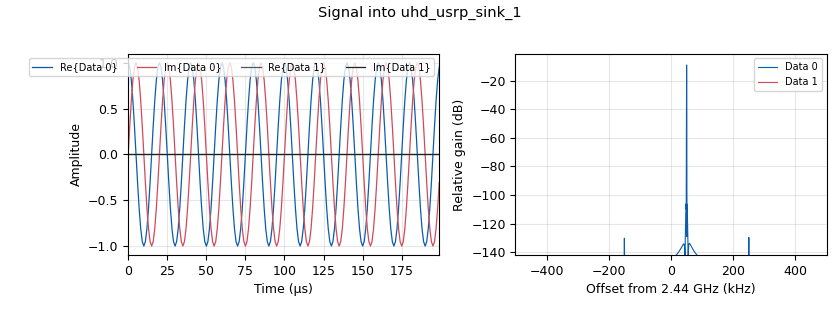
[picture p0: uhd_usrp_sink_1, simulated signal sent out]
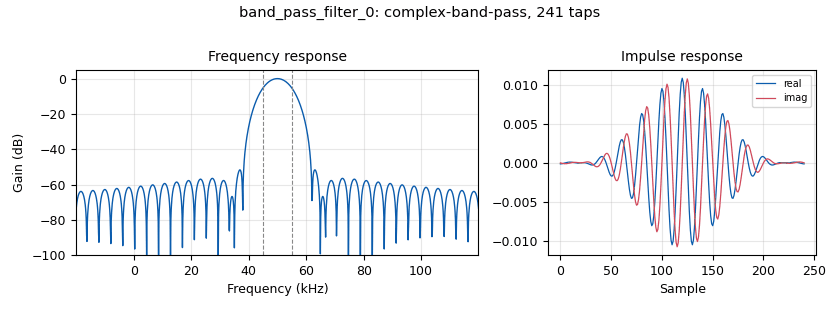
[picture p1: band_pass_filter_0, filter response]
options:
  parameters:
    comment: |-
      Wait for the phase shift coefficient to stabilise - 5min
      "num_recv_frames=1024" is absolutely critical for consistent data flow

          def set_trigger_measurment(self, trigger_measurment):
              self.trigger_measurment = trigger_measurment
              self._trigger_measurment_callback(self.trigger_measurment)

              if trigger_measurment == True:
                  self.aoa_head_w_rst_0.reset(True)
                  self.aoa_head_w_rst_0_0.reset(True)

                  self.blocks_selector_1.set_output_index(self.trigger_measurment)
                  self.blocks_selector_1_0.set_output_index(self.trigger_measurment)
    generate_options: qt_gui
    id: run_usrp_wireless_cal_coeff_meas
    output_language: python
    run_options: run
    title: Frequency sweep of calibration coeficients
  states: {}

blocks:
- name: cal_freq
  id: variable
  parameters:
    value: int(50e3)
  states: {}
- name: decimation
  id: variable
  parameters:
    value: int(1e3)
  states: {}
- name: n_saved_sampl
  id: variable
  parameters:
    value: int(samp_rate*meas_time_s/decimation)
  states: {}
- name: n_skip
  id: variable
  parameters:
    value: int(samp_rate)
  states: {}
- name: round_idx
  id: variable_qtgui_range
  parameters:
    gui_hint: ctrl@0:2,0,1,1
    label: Measurment round index
    orient: Qt.Horizontal
    start: '0'
    step: '1'
    stop: '150'
    value: '0'
  states: {}
- name: rx_gain_1
  id: variable_qtgui_range
  parameters:
    gui_hint: pwr@0:0,0,1,1
    label: rx_gain_1
    orient: Qt.Horizontal
    start: '0'
    step: '1'
    stop: '76'
    value: '30'
  states: {}
- name: rx_gain_2
  id: variable_qtgui_range
  parameters:
    gui_hint: pwr@0:1,0,1,1
    label: rx_gain_2
    orient: Qt.Horizontal
    start: '0'
    step: '1'
    stop: '76'
    value: '30'
  states: {}
- name: samp_rate
  id: variable
  parameters:
    value: int(1e+6)
  states: {}
- name: trigger_measurment
  id: variable_qtgui_check_box
  parameters:
    'false': 'False'
    gui_hint: ctrl@0:1,0,1,1
    label: Trigger measurment
    'true': 'True'
    type: bool
    value: 'False'
  states: {}
- name: tx_chan
  id: variable_qtgui_check_box
  parameters:
    'false': 'False'
    gui_hint: ctrl@0:0,0,1,1
    label: Select TX channel
    'true': 'True'
    type: int
    value: 'False'
  states: {}
- name: tx_gain_1
  id: variable_qtgui_range
  parameters:
    gui_hint: pwr@0:2,0,1,1
    label: tx_gain_1
    orient: Qt.Horizontal
    start: '0'
    step: '1'
    stop: '90'
    value: '40'
  states: {}
- name: tx_gain_2
  id: variable_qtgui_range
  parameters:
    gui_hint: pwr@0:3,0,1,1
    label: tx_gain_2
    orient: Qt.Horizontal
    start: '0'
    step: '1'
    stop: '90'
    value: '40'
  states: {}
- name: analog_sig_source_x_0_0
  id: analog_sig_source_x
  parameters:
    amp: '1'
    freq: cal_freq
    offset: '0'
    phase: '0'
    samp_rate: samp_rate
    type: complex
    waveform: analog.GR_COS_WAVE
  states: {}
- name: aoa_calc_phase_diff_0_0_0
  id: aoa_calc_phase_diff
  parameters:
    node_idx: '1'
    norm_spacing: '0.5'
  states: {}
- name: aoa_head_w_rst_0
  id: aoa_head_w_rst
  parameters:
    dump_buff: 'True'
    num_items: n_saved_sampl
    type: float
    vlen: '1'
  states: {}
- name: aoa_head_w_rst_0_0
  id: aoa_head_w_rst
  parameters:
    dump_buff: 'True'
    num_items: n_saved_sampl
    type: float
    vlen: '1'
  states: {}
- name: aoa_precise_moving_average_0_0_0_0_0_0_0
  id: aoa_precise_moving_average
  parameters:
    length: int(1e5)
    max_iter: int(1e5)
  states: {}
- name: aoa_precise_moving_average_0_0_0_0_0_0_0_0_0
  id: aoa_precise_moving_average
  parameters:
    length: int(1e6)
    max_iter: int(1e7)
  states: {}
- name: aoa_precise_moving_average_0_1_0
  id: aoa_precise_moving_average
  parameters:
    length: int(1e3)
    max_iter: int(1e3)
  states: {}
- name: band_pass_filter_0
  id: band_pass_filter
  parameters:
    decim: '1'
    gain: '1'
    high_cutoff_freq: '55e+3'
    low_cutoff_freq: '45e+3'
    samp_rate: samp_rate
    type: fir_filter_ccc
    width: '10e+3'
    win: firdes.WIN_HAMMING
  states: {}
- name: band_pass_filter_0_1
  id: band_pass_filter
  parameters:
    decim: '1'
    gain: '1'
    high_cutoff_freq: '55e+3'
    low_cutoff_freq: '45e+3'
    samp_rate: samp_rate
    type: fir_filter_ccc
    width: '10e+3'
    win: firdes.WIN_HAMMING
  states: {}
- name: blocks_file_sink_0_3_0_0_0
  id: blocks_file_sink
  parameters:
    file: '"/home/marcin/Desktop/wi_coeff_eval/phase_mav_1k_bp_filtered_f_%d_chan_%d_round_%d.bin" % (center_freq, tx_chan, round_idx)'
    type: float
  states: {}
- name: blocks_file_sink_0_4_0
  id: blocks_file_sink
  parameters:
    file: '"/home/marcin/Desktop/wi_coeff_eval/phase_mav_100k_bp_filtered_f_%d_chan_%d_round_%d.bin" % (center_freq, tx_chan, round_idx)'
    type: float
  states: {}
- name: blocks_null_sink_0
  id: blocks_null_sink
  parameters:
    type: float
  states: {}
- name: blocks_null_sink_0_0
  id: blocks_null_sink
  parameters:
    type: float
  states: {}
- name: blocks_null_source_0
  id: blocks_null_source
  parameters:
    type: complex
  states: {}
- name: blocks_selector_0
  id: blocks_selector
  parameters:
    enabled: 'True'
    input_index: int(tx_chan)
    num_inputs: '2'
    num_outputs: '1'
    output_index: '0'
    type: complex
  states: {}
- name: blocks_selector_0_0
  id: blocks_selector
  parameters:
    enabled: 'True'
    input_index: int(tx_chan)
    num_inputs: '2'
    num_outputs: '1'
    output_index: '0'
    type: complex
  states: {}
- name: blocks_selector_1
  id: blocks_selector
  parameters:
    enabled: 'True'
    input_index: '0'
    num_inputs: '1'
    num_outputs: '2'
    output_index: trigger_measurment
    type: float
  states: {}
- name: blocks_selector_1_0
  id: blocks_selector
  parameters:
    enabled: 'True'
    input_index: '0'
    num_inputs: '1'
    num_outputs: '2'
    output_index: trigger_measurment
    type: float
  states: {}
- name: blocks_skiphead_0
  id: blocks_skiphead
  parameters:
    num_items: n_skip
    type: complex
  states: {}
- name: blocks_skiphead_0_0
  id: blocks_skiphead
  parameters:
    num_items: n_skip
    type: complex
  states: {}
- name: center_freq
  id: parameter
  parameters:
    type: intx
    value: int(2.44e+9)
  states: {}
- name: ctrl
  id: qtgui_tab_widget
  parameters:
    gui_hint: 0,0,1,1
    label0: Controls
    num_tabs: '1'
  states: {}
- name: fir_filter_xxx_0_3_0_0_0
  id: fir_filter_xxx
  parameters:
    decim: decimation
    taps: '1'
    type: fff
  states: {}
- name: fir_filter_xxx_0_4_0
  id: fir_filter_xxx
  parameters:
    decim: decimation
    taps: '1'
    type: fff
  states: {}
- name: meas_time_s
  id: parameter
  parameters:
    type: intx
    value: '30'
  states: {}
- name: phase_coeff
  id: qtgui_tab_widget
  parameters:
    gui_hint: 0,1,1,1
    label0: Phase coeff
    num_tabs: '1'
  states: {}
- name: pwr
  id: qtgui_tab_widget
  parameters:
    gui_hint: 1,1,1,1
    label0: Power controls
    num_tabs: '1'
  states: {}
- name: qtgui_edit_box_msg_0
  id: qtgui_edit_box_msg
  parameters:
    gui_hint: ctrl@0:3,0,1,1
    is_pair: 'False'
    is_static: 'False'
    label: AoA error measurment status
    type: string
  states: {}
- name: qtgui_edit_box_msg_0_0
  id: qtgui_edit_box_msg
  parameters:
    gui_hint: ctrl@0:4,0,1,1
    is_pair: 'False'
    is_static: 'False'
    label: AoA error measurment status
    type: string
  states: {}
- name: qtgui_freq_sink_x_0
  id: qtgui_freq_sink_x
  parameters:
    average: '0.1'
    bw: samp_rate
    fc: center_freq
    fftsize: 1024*2
    gui_hint: signals@0:1,0,1,1
    nconnections: '4'
    type: complex
    wintype: firdes.WIN_BLACKMAN_hARRIS
  states: {}
- name: qtgui_number_sink_0_0
  id: qtgui_number_sink
  parameters:
    graph_type: qtgui.NUM_GRAPH_HORIZ
    gui_hint: phase_coeff@0:0,0,1,1
    max: '3'
    min: '-3'
    type: float
  states: {}
- name: qtgui_time_sink_x_0_0
  id: qtgui_time_sink_x
  parameters:
    gui_hint: phase_coeff@0:1,0,1,1
    size: '1024'
    srate: samp_rate
    type: float
    ymax: '0.4'
    ymin: '-0.1'
  states: {}
- name: qtgui_time_sink_x_1
  id: qtgui_time_sink_x
  parameters:
    autoscale: 'True'
    grid: 'True'
    gui_hint: signals@0:0,0,1,1
    nconnections: '2'
    size: int(1024/4)
    srate: samp_rate
    tr_mode: qtgui.TRIG_MODE_AUTO
    type: complex
    ymax: '-1'
    ymin: '1'
  states: {}
- name: signals
  id: qtgui_tab_widget
  parameters:
    gui_hint: 1,0,1,1
    label0: Signals
    num_tabs: '1'
  states: {}
- name: test_bench_setup_pymodule
  id: epy_module
  parameters:
    source_code: "import os \nfrom os import path\n\ndef get_meas_path(file_type, distance, rx_gain, src_att, physical_aoa):\n    glob_path = os.getcwd()\n    meas_dir = \"%s/meas_dist_%dm_rx_%ddB_src_att_%ddB\" %(glob_path, distance, rx_gain, src_att)\n\n    try:\n        os.mkdir(meas_dir)\n    except OSError:\n        if(path.exists(meas_dir)):\n            print (\"Directory: %s already exists, skipping\" % meas_dir)\n        else:\n            print (\"Creation of the directory: %s failed\" % meas_dir)\n    else:\n        print (\"Successfully created the directory: %s \" % meas_dir)\n\n    meas_path = \"\"\n    if(file_type == \"aoa\"):\n        meas_path = \"%s/angle_%d_err.bin\" %(meas_dir,physical_aoa)\n    elif(file_type == \"ch1\"):\n        meas_path = \"%s/raw_ch_1_%d.bin\" %(meas_dir,physical_aoa)\n    elif(file_type == \"ch2\"):\n        meas_path = \"%s/raw_ch_2_%d.bin\" %(meas_dir,physical_aoa)\n    else:\n        print(\"Unknown file type %s!\" %file_type)\n\n    print(meas_path)\n    return meas_path\n\n\n\n\n\n"
  states: {}
- name: uhd_usrp_sink_1
  id: uhd_usrp_sink
  parameters:
    ant0: TX/RX
    ant1: TX/RX
    bw0: samp_rate
    bw1: samp_rate
    center_freq0: center_freq
    center_freq1: center_freq
    dev_addr: '"serial = 3113F3B"  '
    dev_args: '"num_send_frames=1024"'
    gain0: tx_gain_1
    gain1: tx_gain_2
    len_tag_name: ''
    nchan: '2'
    norm_gain0: 'False'
    norm_gain1: 'False'
    samp_rate: samp_rate
    sync: pc_clock
    type: fc32
  states: {}
- name: uhd_usrp_source_0
  id: uhd_usrp_source
  parameters:
    ant0: RX2
    ant1: RX2
    bw0: samp_rate
    bw1: samp_rate
    center_freq0: center_freq
    center_freq1: center_freq
    dc_offs_enb0: 'True'
    dc_offs_enb1: 'True'
    dev_addr: '"serial = 3113F3B"  '
    dev_args: '"num_recv_frames=1024"'
    gain0: rx_gain_1
    gain1: rx_gain_2
    iq_imbal_enb0: 'True'
    iq_imbal_enb1: 'True'
    nchan: '2'
    norm_gain0: 'False'
    norm_gain1: 'False'
    samp_rate: samp_rate
    sync: pc_clock
    type: fc32
  states: {}

connections:
- [analog_sig_source_x_0_0, '0', blocks_selector_0, '0']
- [analog_sig_source_x_0_0, '0', blocks_selector_0_0, '1']
- [aoa_calc_phase_diff_0_0_0, '0', aoa_precise_moving_average_0_0_0_0_0_0_0, '0']
- [aoa_calc_phase_diff_0_0_0, '0', aoa_precise_moving_average_0_0_0_0_0_0_0_0_0, '0']
- [aoa_calc_phase_diff_0_0_0, '0', aoa_precise_moving_average_0_1_0, '0']
- [aoa_calc_phase_diff_0_0_0, '0', qtgui_time_sink_x_0_0, '0']
- [aoa_head_w_rst_0, '0', blocks_file_sink_0_3_0_0_0, '0']
- [aoa_head_w_rst_0, status, qtgui_edit_box_msg_0, val]
- [aoa_head_w_rst_0_0, '0', blocks_file_sink_0_4_0, '0']
- [aoa_head_w_rst_0_0, status, qtgui_edit_box_msg_0_0, val]
- [aoa_precise_moving_average_0_0_0_0_0_0_0, '0', fir_filter_xxx_0_4_0, '0']
- [aoa_precise_moving_average_0_0_0_0_0_0_0_0_0, '0', qtgui_number_sink_0_0, '0']
- [aoa_precise_moving_average_0_1_0, '0', fir_filter_xxx_0_3_0_0_0, '0']
- [band_pass_filter_0, '0', aoa_calc_phase_diff_0_0_0, '0']
- [band_pass_filter_0, '0', qtgui_freq_sink_x_0, '1']
- [band_pass_filter_0, '0', qtgui_time_sink_x_1, '0']
- [band_pass_filter_0_1, '0', aoa_calc_phase_diff_0_0_0, '1']
- [band_pass_filter_0_1, '0', qtgui_freq_sink_x_0, '3']
- [band_pass_filter_0_1, '0', qtgui_time_sink_x_1, '1']
- [blocks_null_source_0, '0', blocks_selector_0, '1']
- [blocks_null_source_0, '0', blocks_selector_0_0, '0']
- [blocks_selector_0, '0', uhd_usrp_sink_1, '0']
- [blocks_selector_0_0, '0', uhd_usrp_sink_1, '1']
- [blocks_selector_1, '0', blocks_null_sink_0, '0']
- [blocks_selector_1, '1', aoa_head_w_rst_0, '0']
- [blocks_selector_1_0, '0', blocks_null_sink_0_0, '0']
- [blocks_selector_1_0, '1', aoa_head_w_rst_0_0, '0']
- [blocks_skiphead_0, '0', band_pass_filter_0, '0']
- [blocks_skiphead_0, '0', qtgui_freq_sink_x_0, '0']
- [blocks_skiphead_0_0, '0', band_pass_filter_0_1, '0']
- [blocks_skiphead_0_0, '0', qtgui_freq_sink_x_0, '2']
- [fir_filter_xxx_0_3_0_0_0, '0', blocks_selector_1, '0']
- [fir_filter_xxx_0_4_0, '0', blocks_selector_1_0, '0']
- [uhd_usrp_source_0, '0', blocks_skiphead_0, '0']
- [uhd_usrp_source_0, '1', blocks_skiphead_0_0, '0']

metadata:
  file_format: 1
